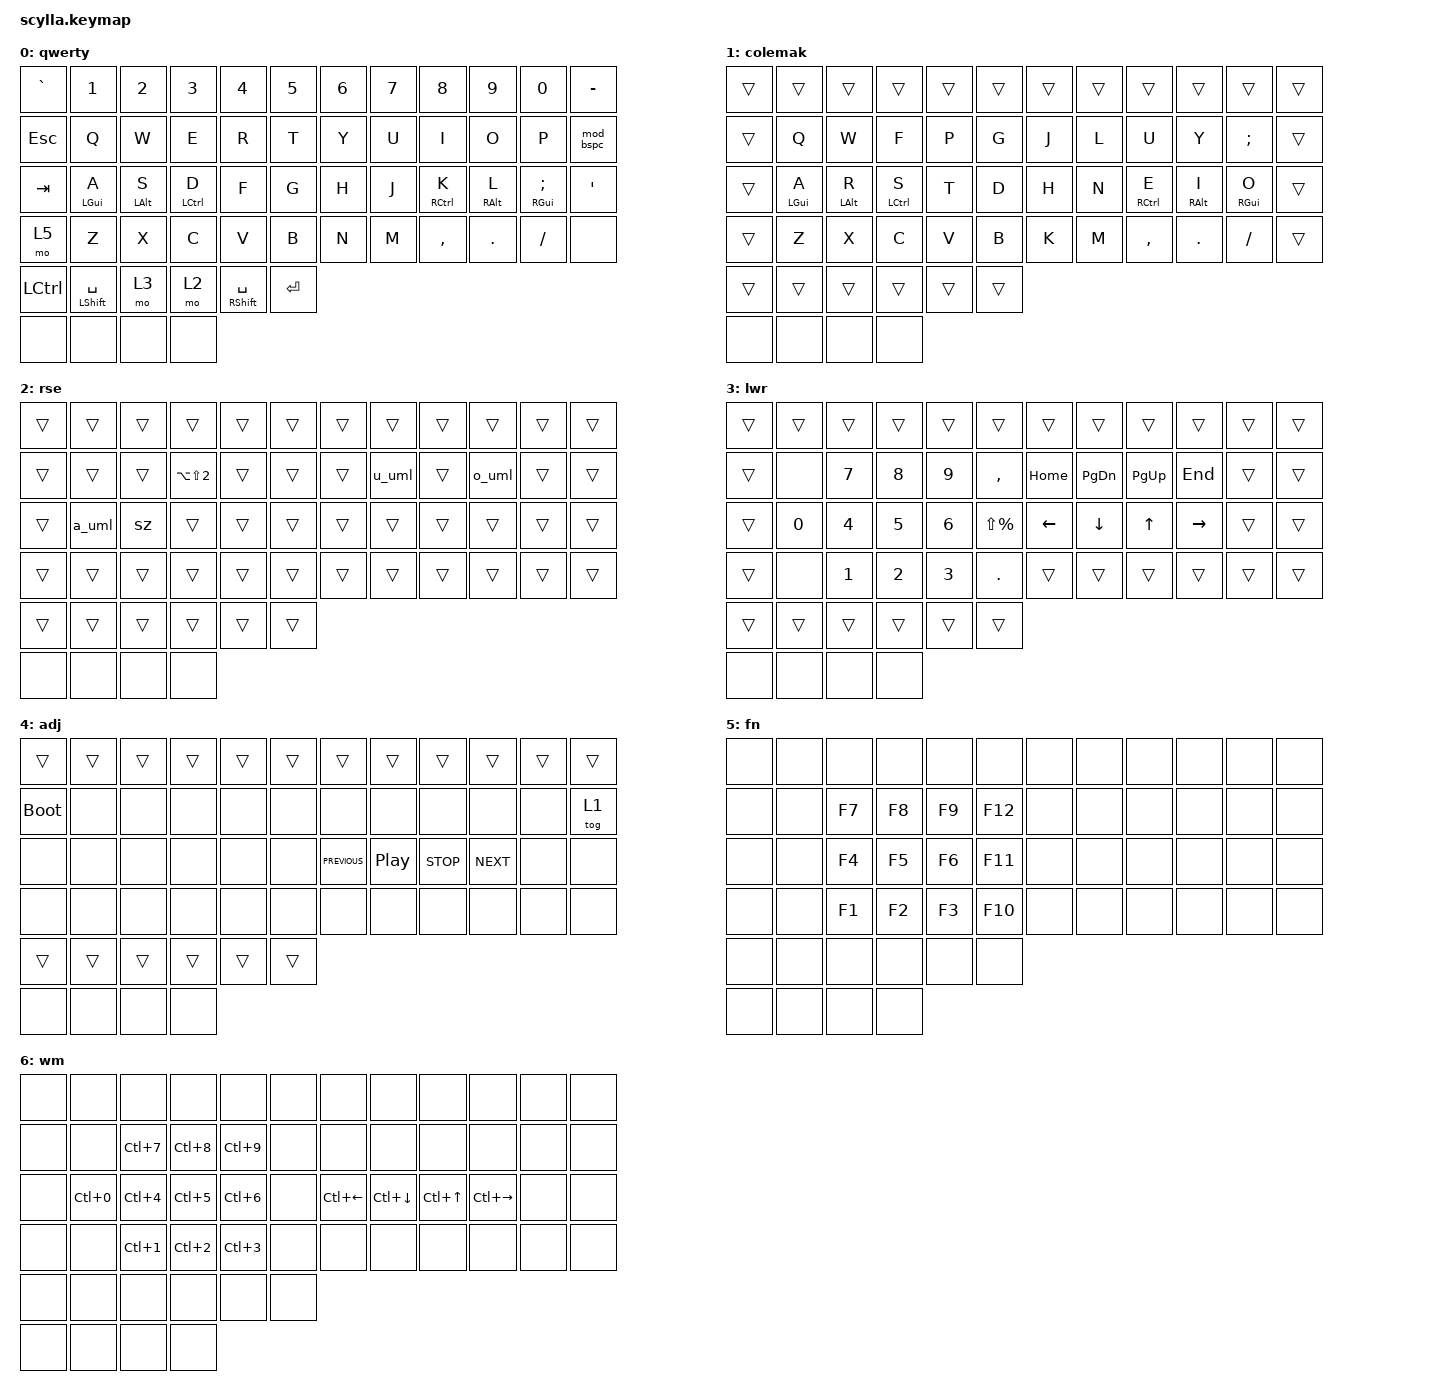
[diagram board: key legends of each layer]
#include <behaviors/non_overlap.dtsi>
#include <behaviors.dtsi>
#include <dt-bindings/zmk/keys.h>

&sk { release-after-ms = <500>; };

/ {
    behaviors {
        mod_bspc: mod_bspc {
            compatible = "zmk,behavior-mod-morph";
            label = "MOD_BSPC";
            bindings = <&kp BACKSPACE>, <&kp DEL>;

            #binding-cells = <0>;
            mods = <(MOD_LSFT|MOD_RSFT)>;
        };

        hrm_l: hrm_l {
            compatible = "zmk,behavior-hold-tap";
            label = "HRM_L";
            bindings = <&kp>, <&kp>;

            #binding-cells = <2>;
            hold-trigger-key-positions = <48 49 50 51 52 30 18 6 7 19 31 32 20 8 9 21 34 33 22 10 11 35 23 53>;
            hold-trigger-on-release;
            flavor = "tap-preferred";
            tapping-term-ms = <200>;
            quick-tap-ms = <200>;
            require-prior-idle-ms = <175>;
        };

        hrm_r: hrm_r {
            compatible = "zmk,behavior-hold-tap";
            label = "HRM_R";
            bindings = <&kp>, <&kp>;

            #binding-cells = <2>;
            hold-trigger-on-release;
            flavor = "tap-preferred";
            tapping-term-ms = <200>;
            quick-tap-ms = <200>;
            require-prior-idle-ms = <175>;
            hold-trigger-key-positions = <0 1 2 3 4 5 12 13 14 15 16 17 24 25 26 27 28 29 48 49 50 51 52 53>;
        };

        mt_space: mt_space {
            compatible = "zmk,behavior-hold-tap";
            label = "MT_SPACE";
            bindings = <&kp>, <&kp>;

            #binding-cells = <2>;
            flavor = "tap-preferred";
            tapping-term-ms = <150>;
        };

        td_lower_wm_layer: td_lower_wm_layer {
            compatible = "zmk,behavior-tap-dance";
            label = "TD_LOWER_WM_LAYER";
            #binding-cells = <0>;
            tapping-term-ms = <200>;
            bindings = <&mo 3>, <&mo 6>;
        };

        td_raise_fn_layer: td_raise_fn_layer {
            compatible = "zmk,behavior-tap-dance";
            label = "TD_RAISE_FN_LAYER";
            #binding-cells = <0>;
            tapping-term-ms = <200>;
            bindings = <&mo 2>, <&mo 5>;
        };
    };

    combos {
        compatible = "zmk,combos";
        require-prior-idle-ms = <125>;

        Left_Square_Bracket {
            bindings = <&kp LBKT>;
            key-positions = <14 15>;
            layers = <0>;
        };

        Right_Square_Bracket {
            bindings = <&kp RBKT>;
            key-positions = <15 16>;
            layers = <0>;
        };

        Left_Parenthesis {
            bindings = <&kp LPAR>;
            key-positions = <26 27>;
            layers = <0>;
        };

        Right_Parenthesis {
            bindings = <&kp RPAR>;
            key-positions = <27 28>;
            layers = <0>;
        };

        Left_Brace {
            bindings = <&kp LBRC>;
            key-positions = <38 39>;
            layers = <0>;
        };

        Right_Brace {
            bindings = <&kp RBRC>;
            key-positions = <39 40>;
            layers = <0>;
        };

        Percent {
            bindings = <&kp PERCENT>;
            key-positions = <20 21>;
            layers = <0>;
        };

        QuestionMark {
            bindings = <&kp QMARK>;
            key-positions = <25 26>;
            layers = <0>;
        };

        ExclamationMark {
            bindings = <&kp EXCL>;
            key-positions = <37 38>;
            layers = <0>;
        };

        Underscore {
            bindings = <&kp UNDER>;
            key-positions = <40 41>;
            layers = <0>;
        };

        Amp {
            bindings = <&kp AMPS>;
            key-positions = <13 14>;
            layers = <0>;
        };

        Grave {
            bindings = <&kp GRAVE>;
            key-positions = <16 17>;
            layers = <0>;
        };

        Pipe {
            bindings = <&kp PIPE>;
            key-positions = <28 29>;
            layers = <0>;
        };

        At {
            bindings = <&kp AT>;
            key-positions = <30 31>;
            layers = <0>;
        };

        Backslash {
            bindings = <&kp BACKSLASH>;
            key-positions = <42 43>;
            layers = <0>;
        };

        Caret {
            bindings = <&kp CARET>;
            key-positions = <43 44>;
            layers = <0>;
        };

        Minus {
            bindings = <&kp MINUS>;
            key-positions = <31 32>;
            layers = <0>;
        };

        Tilde {
            bindings = <&kp TILDE>;
            key-positions = <45 44>;
            layers = <0>;
        };

        Dollar {
            bindings = <&kp DOLLAR>;
            key-positions = <19 20>;
            layers = <0>;
        };

        Equal {
            bindings = <&kp EQUAL>;
            key-positions = <32 33>;
            layers = <0>;
        };

        plus {
            bindings = <&kp PLUS>;
            key-positions = <33 34>;
            layers = <0>;
        };

        Asterisk {
            bindings = <&kp ASTERISK>;
            key-positions = <21 22>;
            layers = <0>;
        };

        Hash {
            bindings = <&kp HASH>;
            key-positions = <19 18>;
            layers = <0>;
        };
    };

    macros {
        px: px {
            compatible = "zmk,behavior-macro";
            #binding-cells = <0>;
            bindings = <&kp P &kp X>;
            label = "PX";
        };

        rem: rem {
            compatible = "zmk,behavior-macro";
            #binding-cells = <0>;
            bindings = <&kp R &kp E &kp M>;
            label = "REM";
        };

        a_uml: a_uml {
            compatible = "zmk,behavior-macro";
            #binding-cells = <0>;
            bindings = <&kp LA(U) &kp A>;
            label = "A_UML";
        };

        o_uml: o_uml {
            compatible = "zmk,behavior-macro";
            #binding-cells = <0>;
            bindings = <&kp LA(U) &kp O>;
            label = "O_UML";
        };

        u_uml: u_uml {
            compatible = "zmk,behavior-macro";
            #binding-cells = <0>;
            bindings = <&kp LA(U) &kp U>;
            label = "U_UML";
        };

        sz: sz {
            compatible = "zmk,behavior-macro";
            #binding-cells = <0>;
            bindings = <&kp RA(S)>;
            label = "SZ";
        };

        Arrow: Arrow {
            compatible = "zmk,behavior-macro";
            #binding-cells = <0>;
            bindings = <&none &kp EQUAL &kp GT>;
            label = "ARROW";
        };
    };

    keymap {
        compatible = "zmk,keymap";

        qwerty {
            display-name = "qwerty";
            bindings = <
&kp GRAVE   &kp NUMBER_1           &kp NUMBER_2       &kp NUMBER_3    &kp NUMBER_4            &kp NUMBER_5  &kp NUMBER_6  &kp NUMBER_7  &kp NUMBER_8    &kp NUMBER_9        &kp NUMBER_0           &kp MINUS
&kp ESCAPE  &kp Q                  &kp W              &kp E           &kp R                   &kp T         &kp Y         &kp U         &kp I           &kp O               &kp P                  &mod_bspc
&kp TAB     &hrm_l LGUI A          &hrm_l LEFT_ALT S  &hrm_l LCTRL D  &kp F                   &kp G         &kp H         &kp J         &hrm_r RCTRL K  &hrm_r RIGHT_ALT L  &hrm_r RGUI SEMICOLON  &kp SQT
&mo 5       &kp Z                  &kp X              &kp C           &kp V                   &kp B         &kp N         &kp M         &kp COMMA       &kp DOT             &kp FSLH               &none
&kp LCTRL   &mt_space LSHFT SPACE  &mo 3              &mo 2           &mt_space RSHIFT SPACE  &kp ENTER
&none       &none                  &none              &none
            >;
        };

        colemak {
            display-name = " colemak";
            bindings = <
&trans  &trans         &trans             &trans          &trans  &trans  &trans  &trans  &trans          &trans              &trans         &trans
&trans  &kp Q          &kp W              &kp F           &kp P   &kp G   &kp J   &kp L   &kp U           &kp Y               &kp SEMI       &trans
&trans  &hrm_l LGUI A  &hrm_l LEFT_ALT R  &hrm_l LCTRL S  &kp T   &kp D   &kp H   &kp N   &hrm_r RCTRL E  &hrm_r RIGHT_ALT I  &hrm_r RGUI O  &trans
&trans  &kp Z          &kp X              &kp C           &kp V   &kp B   &kp K   &kp M   &kp COMMA       &kp DOT             &kp FSLH       &trans
&trans  &trans         &trans             &trans          &trans  &trans
&none   &none          &none              &none
            >;
        };

        raise_layer {
            display-name = "rse";
            bindings = <
&trans  &trans  &trans  &trans                &trans  &trans  &trans  &trans  &trans  &trans  &trans  &trans
&trans  &trans  &trans  &kp LA(LS(NUMBER_2))  &trans  &trans  &trans  &u_uml  &trans  &o_uml  &trans  &trans
&trans  &a_uml  &sz     &trans                &trans  &trans  &trans  &trans  &trans  &trans  &trans  &trans
&trans  &trans  &trans  &trans                &trans  &trans  &trans  &trans  &trans  &trans  &trans  &trans
&trans  &trans  &trans  &trans                &trans  &trans
&none   &none   &none   &none
            >;
        };

        lower_layer {
            display-name = "lwr";
            bindings = <
&trans  &trans  &trans  &trans  &trans  &trans         &trans    &trans     &trans     &trans     &trans  &trans
&trans  &none   &kp N7  &kp N8  &kp N9  &kp COMMA      &kp HOME  &kp PG_DN  &kp PG_UP  &kp END    &trans  &trans
&trans  &kp N0  &kp N4  &kp N5  &kp N6  &kp LS(PRCNT)  &kp LEFT  &kp DOWN   &kp UP     &kp RIGHT  &trans  &trans
&trans  &none   &kp N1  &kp N2  &kp N3  &kp DOT        &trans    &trans     &trans     &trans     &trans  &trans
&trans  &trans  &trans  &trans  &trans  &trans
&none   &none   &none   &none
            >;
        };

        adjust_layer {
            display-name = "adj";
            bindings = <
&trans       &trans  &trans  &trans  &trans  &trans  &trans          &trans            &trans      &trans      &trans  &trans
&bootloader  &none   &none   &none   &none   &none   &none           &none             &none       &none       &none   &tog 1
&none        &none   &none   &none   &none   &none   &kp C_PREVIOUS  &kp C_PLAY_PAUSE  &kp C_STOP  &kp C_NEXT  &none   &none
&none        &none   &none   &none   &none   &none   &none           &none             &none       &none       &none   &none
&trans       &trans  &trans  &trans  &trans  &trans
&none        &none   &none   &none
            >;
        };

        fn_layer {
            display-name = "fn";
            bindings = <
&none  &none  &none   &none   &none   &none    &none  &none  &none  &none  &none  &none
&none  &none  &kp F7  &kp F8  &kp F9  &kp F12  &none  &none  &none  &none  &none  &none
&none  &none  &kp F4  &kp F5  &kp F6  &kp F11  &none  &none  &none  &none  &none  &none
&none  &none  &kp F1  &kp F2  &kp F3  &kp F10  &none  &none  &none  &none  &none  &none
&none  &none  &none   &none   &none   &none
&none  &none  &none   &none
            >;
        };

        wm_layer {
            display-name = "wm";
            bindings = <
&none  &none       &none       &none       &none       &none  &none               &none               &none             &none                &none  &none
&none  &none       &kp LC(N7)  &kp LC(N8)  &kp LC(N9)  &none  &none               &none               &none             &none                &none  &none
&none  &kp LC(N0)  &kp LC(N4)  &kp LC(N5)  &kp LC(N6)  &none  &kp LC(LEFT_ARROW)  &kp LC(DOWN_ARROW)  &kp LC(UP_ARROW)  &kp LC(RIGHT_ARROW)  &none  &none
&none  &none       &kp LC(N1)  &kp LC(N2)  &kp LC(N3)  &none  &none               &none               &none             &none                &none  &none
&none  &none       &none       &none       &none       &none
&none  &none       &none       &none
            >;
        };
    };

    conditional_layers {
        compatible = "zmk,conditional-layers";

        activate_adjust_layer {
            if-layers = <3 2>;
            then-layer = <4>;
        };
    };
};
